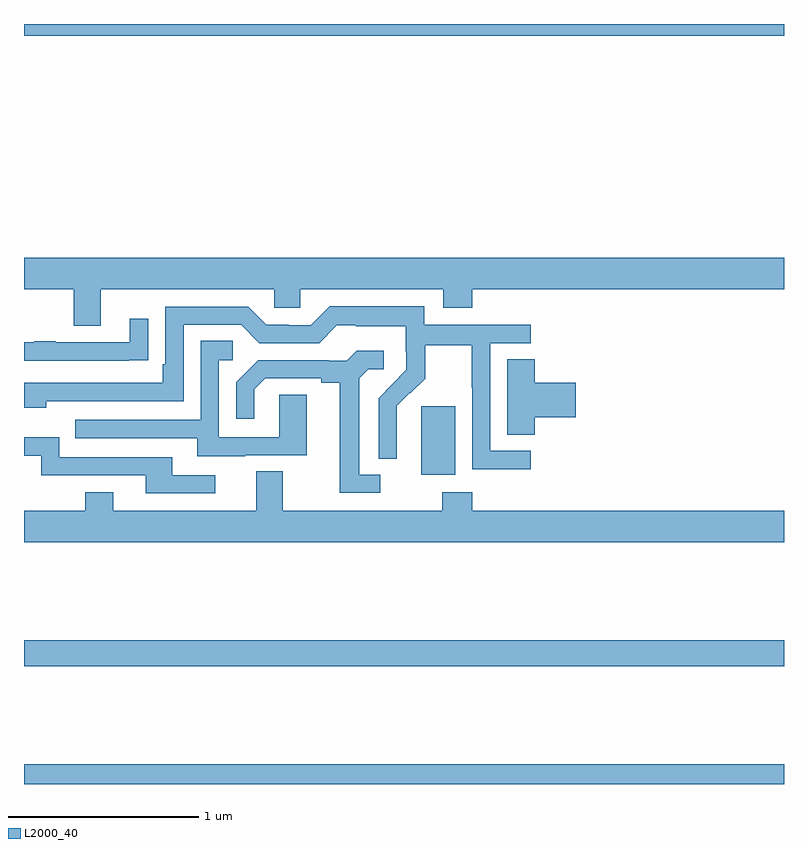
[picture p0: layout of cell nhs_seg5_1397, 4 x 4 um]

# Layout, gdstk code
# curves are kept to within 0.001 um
import gdstk
lib = gdstk.Library(unit=1e-6, precision=1e-09)
def R(c, l, rs):  # rectangles x0, y0, x1, y1
    for r in rs: c.add(gdstk.rectangle(r[:2], r[2:], *l))
def P(c, l, *ps):  # polygons
    for p in ps: c.add(gdstk.Polygon(p, *l))
L2000_40 = (2000, 40)

nhs_seg5_1397 = lib.new_cell('nhs_seg5_1397')
R(nhs_seg5_1397, L2000_40, [(195,876.799,199,876.904), (195,877.42,199,877.556), (197.09,878.426,197.269,878.787), (195,880.736,199,880.799)])
P(nhs_seg5_1397, L2000_40, [(195.403,879.404),(196.317,879.404),(196.317,879.306),(196.455,879.306),(196.455,879.404),(197.207,879.404),(197.207,879.305),(197.36,879.305),(197.36,879.404),(199,879.404),(199,879.568),(195,879.568),(195,879.404),(195.263,879.404),(195.263,879.21),(195.403,879.21)],
  [(197.668,878.553),(197.454,878.553),(197.454,879.12),(197.668,879.12),(197.668,879.216),(197.106,879.216),(197.106,879.313),(196.609,879.313),(196.509,879.213),(196.394,879.213),(196.394,879.216),(196.275,879.216),(196.179,879.312),(195.744,879.312),(195.744,879.007),(195.731,879.007),(195.731,878.91),(195,878.91),(195,878.78),(195.116,878.78),(195.116,878.814),(195.84,878.814),(195.84,879.216),(196.143,879.216),(196.239,879.12),(196.554,879.12),(196.647,879.213),(196.747,879.213),(196.747,879.209),(197.01,879.209),(197.01,879.075),(197.012,879.075),(197.012,878.978),(196.866,878.83),(196.866,878.512),(196.962,878.512),(196.961,878.789),(197.031,878.859),(197.034,878.856),(197.111,878.933),(197.111,879.108),(197.356,879.108),(197.356,878.884),(197.358,878.884),(197.358,878.455),(197.668,878.455)],
  [(195.551,879.028),(195.653,879.028),(195.653,879.247),(195.557,879.247),(195.557,879.123),(195.167,879.123),(195.167,879.128),(195.055,879.128),(195.055,879.123),(195,879.123),(195,879.027),(195.551,879.027)],
  [(196.165,878.529),(196.489,878.529),(196.489,878.849),(196.344,878.849),(196.344,878.625),(196.026,878.625),(196.026,879.03),(196.099,879.03),(196.099,879.131),(195.93,879.131),(195.93,878.715),(195.271,878.715),(195.271,878.619),(195.911,878.619),(195.911,878.525),(196.165,878.525)],
  [(196.876,878.427),(196.765,878.427),(196.765,878.935),(196.812,878.982),(196.894,878.982),(196.894,879.079),(196.75,879.079),(196.698,879.027),(196.604,879.027),(196.604,879.03),(196.232,879.03),(196.116,878.914),(196.116,878.721),(196.213,878.721),(196.213,878.877),(196.27,878.934),(196.565,878.934),(196.565,878.912),(196.661,878.912),(196.661,878.331),(196.876,878.331)],
  [(197.687,878.729),(197.905,878.729),(197.905,878.912),(197.687,878.912),(197.687,879.035),(197.543,879.035),(197.543,878.638),(197.687,878.638)],
  [(196.006,878.424),(195.781,878.424),(195.781,878.52),(195.186,878.52),(195.186,878.623),(195,878.623),(195,878.526),(195.09,878.526),(195.09,878.424),(195.641,878.424),(195.641,878.328),(196.006,878.328)],
  [(199,878.236),(197.36,878.236),(197.36,878.335),(197.2,878.335),(197.2,878.236),(196.363,878.236),(196.363,878.444),(196.223,878.444),(196.223,878.236),(195.469,878.236),(195.469,878.335),(195.322,878.335),(195.322,878.236),(195,878.236),(195,878.072),(199,878.072)])

lib.write_gds('nhs_seg5_1397.gds')
